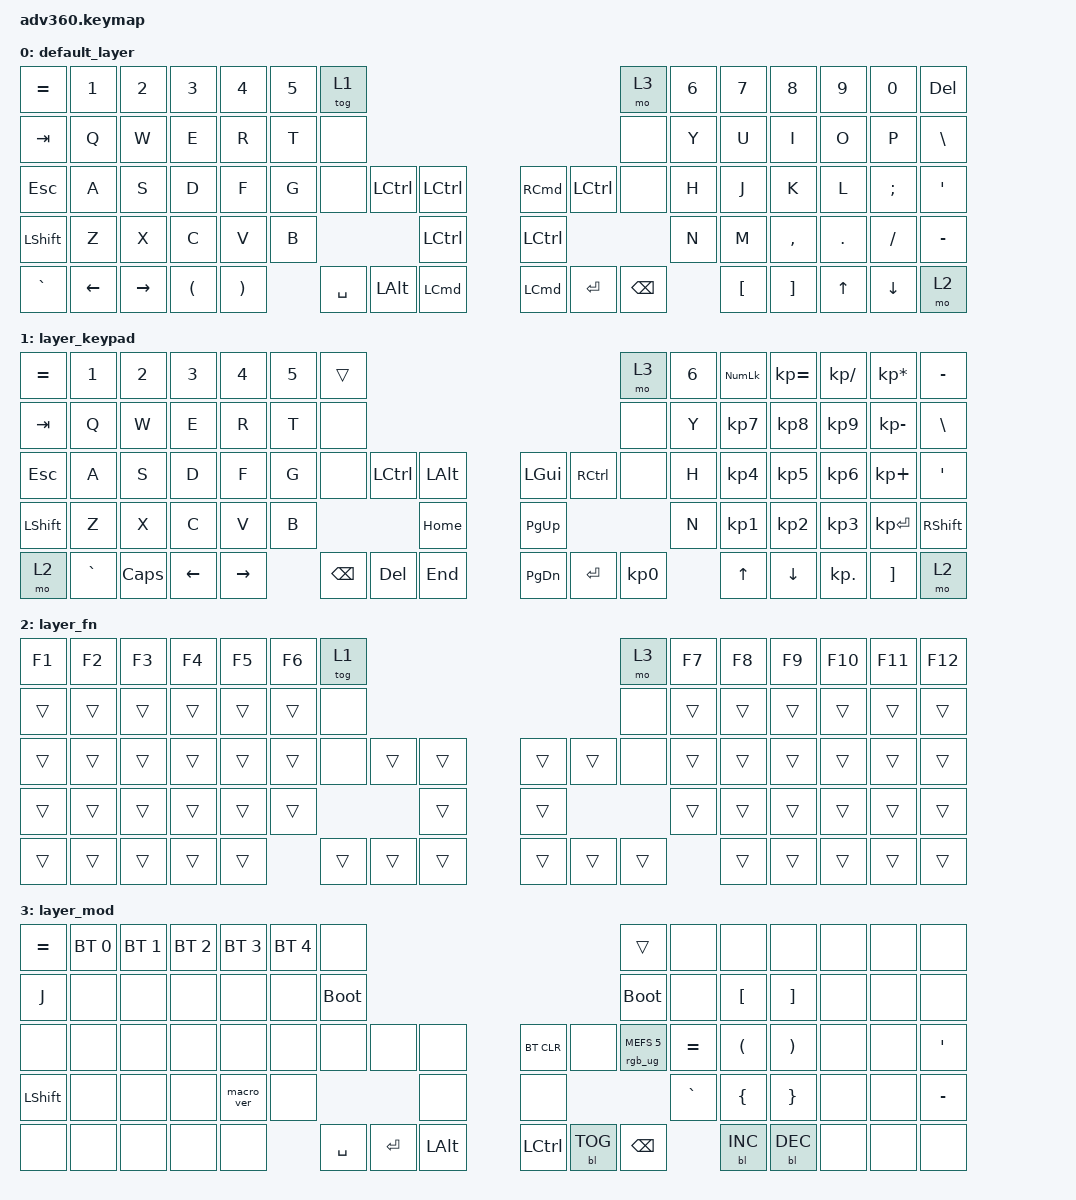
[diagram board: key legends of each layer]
/*
 * Copyright (c) 2020 The ZMK Contributors
 *
 * SPDX-License-Identifier: MIT
 */
/* THIS FILE WAS GENERATED!
 *
 * This file was generated automatically. You may or may not want to
 * edit it directly.
 */

#include <behaviors.dtsi>
#include <dt-bindings/zmk/backlight.h>
#include <dt-bindings/zmk/bt.h>
#include <dt-bindings/zmk/keys.h>
#include <dt-bindings/zmk/rgb.h>

/ {
    behaviors {
        #include "macros.dtsi"
    #include "version.dtsi"

        hm: homerow_mods {
            compatible = "zmk,behavior-hold-tap";
            label = "HOMEROW_MODS";
            #binding-cells = <2>;
            tapping-term-ms = <200>;
            quick_tap_ms = <175>;
            flavor = "tap-preferred";
            bindings = <&kp>, <&kp>;
        };
    };

    keymap {
        compatible = "zmk,keymap";

        default_layer {
            bindings = <
&kp EQUAL  &kp N1    &kp N2     &kp N3                &kp N4                 &kp N5  &tog 1                                                                       &mo 3          &kp N6  &kp N7    &kp N8     &kp N9   &kp N0         &kp DEL
&kp TAB    &kp Q     &kp W      &kp E                 &kp R                  &kp T   &none                                                                        &none          &kp Y   &kp U     &kp I      &kp O    &kp P          &kp BSLH
&kp ESC    &kp A     &kp S      &kp D                 &kp F                  &kp G   &none      &kp LCTRL     &kp LCTRL             &kp RIGHT_COMMAND  &kp LCTRL  &none          &kp H   &kp J     &kp K      &kp L    &kp SEMICOLON  &kp SQT
&kp LSHFT  &kp Z     &kp X      &kp C                 &kp V                  &kp B                            &kp LCTRL             &kp LCTRL                                    &kp N   &kp M     &kp COMMA  &kp DOT  &kp FSLH       &kp MINUS
&kp GRAVE  &kp LEFT  &kp RIGHT  &kp LEFT_PARENTHESIS  &kp RIGHT_PARENTHESIS          &kp SPACE  &kp LEFT_ALT  &kp LEFT_COMMAND      &kp LEFT_COMMAND   &kp ENTER  &kp BACKSPACE          &kp LBKT  &kp RBKT   &kp UP   &kp DOWN       &mo 2
            >;
        };

        layer_keypad {
            bindings = <
&kp EQUAL  &kp N1     &kp N2    &kp N3    &kp N4     &kp N5  &trans                                                   &mo 3      &kp N6  &kp KP_NUM  &kp KP_EQUAL  &kp KP_DIVIDE  &kp KP_MULTIPLY  &kp MINUS
&kp TAB    &kp Q      &kp W     &kp E     &kp R      &kp T   &none                                                    &none      &kp Y   &kp KP_N7   &kp KP_N8     &kp KP_N9      &kp KP_MINUS     &kp BSLH
&kp ESC    &kp A      &kp S     &kp D     &kp F      &kp G   &none     &kp LCTRL  &kp LALT      &kp LGUI   &kp RCTRL  &none      &kp H   &kp KP_N4   &kp KP_N5     &kp KP_N6      &kp KP_PLUS      &kp SQT
&kp LSHFT  &kp Z      &kp X     &kp C     &kp V      &kp B                        &kp HOME      &kp PG_UP                        &kp N   &kp KP_N1   &kp KP_N2     &kp KP_N3      &kp KP_ENTER     &kp RSHFT
&mo 2      &kp GRAVE  &kp CAPS  &kp LEFT  &kp RIGHT          &kp BSPC  &kp DEL    &kp END       &kp PG_DN  &kp ENTER  &kp KP_N0          &kp UP      &kp DOWN      &kp KP_DOT     &kp RBKT         &mo 2
            >;
        };

        layer_fn {
            bindings = <
&kp F1  &kp F2  &kp F3  &kp F4  &kp F5  &kp F6  &tog 1                                      &mo 3   &kp F7  &kp F8  &kp F9  &kp F10  &kp F11  &kp F12
&trans  &trans  &trans  &trans  &trans  &trans  &none                                       &none   &trans  &trans  &trans  &trans   &trans   &trans
&trans  &trans  &trans  &trans  &trans  &trans  &none   &trans  &trans      &trans  &trans  &none   &trans  &trans  &trans  &trans   &trans   &trans
&trans  &trans  &trans  &trans  &trans  &trans                  &trans      &trans                  &trans  &trans  &trans  &trans   &trans   &trans
&trans  &trans  &trans  &trans  &trans          &trans  &trans  &trans      &trans  &trans  &trans          &trans  &trans  &trans   &trans   &trans
            >;
        };

        layer_mod {
            bindings = <
&kp EQUAL  &bt BT_SEL 0  &bt BT_SEL 1  &bt BT_SEL 2  &bt BT_SEL 3  &bt BT_SEL 4  &none                                                                   &trans                  &none      &none                 &none                  &none  &none  &none
&kp J      &none         &none         &none         &none         &none         &bootloader                                                             &bootloader             &none      &kp LEFT_BRACKET      &kp RIGHT_BRACKET      &none  &none  &none
&none      &none         &none         &none         &none         &none         &none        &none      &none             &bt BT_CLR        &none       &rgb_ug RGB_MEFS_CMD 5  &kp EQUAL  &kp LEFT_PARENTHESIS  &kp RIGHT_PARENTHESIS  &none  &none  &kp SINGLE_QUOTE
&kp LSHFT  &none         &none         &none         &macro_ver    &none                                 &none             &none                                                 &kp GRAVE  &kp LEFT_BRACE        &kp RIGHT_BRACE        &none  &none  &kp MINUS
&none      &none         &none         &none         &none                       &kp SPACE    &kp ENTER  &kp LEFT_ALT      &kp LEFT_CONTROL  &bl BL_TOG  &kp BACKSPACE                      &bl BL_INC            &bl BL_DEC             &none  &none  &none
            >;
        };
    };
};
